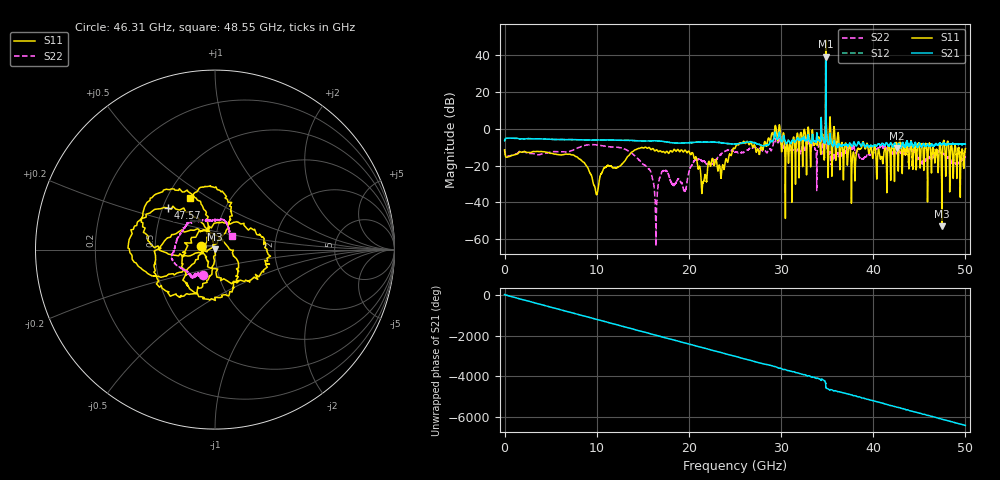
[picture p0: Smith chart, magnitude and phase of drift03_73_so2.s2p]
!Created with skrf (http://scikit-rf.org).
# Hz S RI R 50.0
!freq ReS11 ImS11 ReS21 ImS21 ReS12 ImS12 ReS22 ImS22
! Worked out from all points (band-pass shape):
!   10001 points, 300 kHz to 50 GHz, reference 50 ohm
!   highest |S21| = 39.35 dB at 34.85 GHz (marker M1); lowest = -10.3 dB at 42.55 GHz (marker M2)
!   |S21| within 3 dB of the highest: 34.84445 GHz to 34.84562 GHz (1.173 MHz wide, 0.00337 % of centre)
!   lowest |S11| = -53.0 dB at 47.44 GHz (marker M3), VSWR 1.00, Z = 50.1 + j0.179 ohm
!   |S11| at or under -10 dB: start of sweep to 15.23 GHz; 15.31 GHz to 25.05 GHz (9.737 GHz wide, 48.2 % of centre); 40.22 GHz to 41.61 GHz (1.391 GHz wide, 3.4 % of centre) (the widest 3 of 52)
!   |S22| runs from -63.8 to 30.4 dB; largest |S21 - S12| = 13
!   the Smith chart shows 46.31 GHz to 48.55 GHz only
!   S11 on the Smith chart (normalised r, x): 46.31 GHz: 0.85, +0.04; 47.57 GHz: 0.53, +0.28; 48.55 GHz: 0.66, +0.42
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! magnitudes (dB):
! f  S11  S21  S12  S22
! 300 kHz  -11.4  -6.5  -6.4  -11.3
! 8.335 GHz  -17.1  -6.0  -6.0  -9.6
! 9.955 GHz  -35.6  -6.1  -6.1  -8.7
! 13.82 GHz  -12.5  -6.3  -6.3  -13.3
! 16.67 GHz  -12.3  -6.5  -6.5  -30.1
! 17.34 GHz  -12.7  -6.9  -6.9  -22.9
! 19.55 GHz  -11.6  -7.7  -7.7  -33.9
! 20.22 GHz  -13.9  -7.5  -7.5  -20.4
! 21.55 GHz  -28.9  -7.2  -7.1  -17.7
! 25 GHz  -10.6  -8.3  -8.2  -12.6
! 33.34 GHz  -3.8  -6.8  -6.6  -9.3
! 34.85 GHz  48.1  39.3  39.1  30.4
! 35.61 GHz  -8.1  -9.4  -9.2  -16.6
! 37.83 GHz  -12.9  -8.2  -8.2  -9.7
! 38.83 GHz  -8.0  -8.0  -8.0  -16.3
! 41.67 GHz  -9.2  -9.4  -9.4  -11.6
! 42.55 GHz  -8.3  -10.3  -10.4  -13.4
! 46.31 GHz  -21.8  -8.5  -8.6  -16.1
! 47.44 GHz  -53.0  -8.5  -8.5  -13.4
! 47.57 GHz  -9.2  -8.3  -8.3  -13.3
! 48.55 GHz  -10.0  -8.2  -8.2  -18.4
! 50 GHz  -10.6  -8.3  -8.2  -15.4
